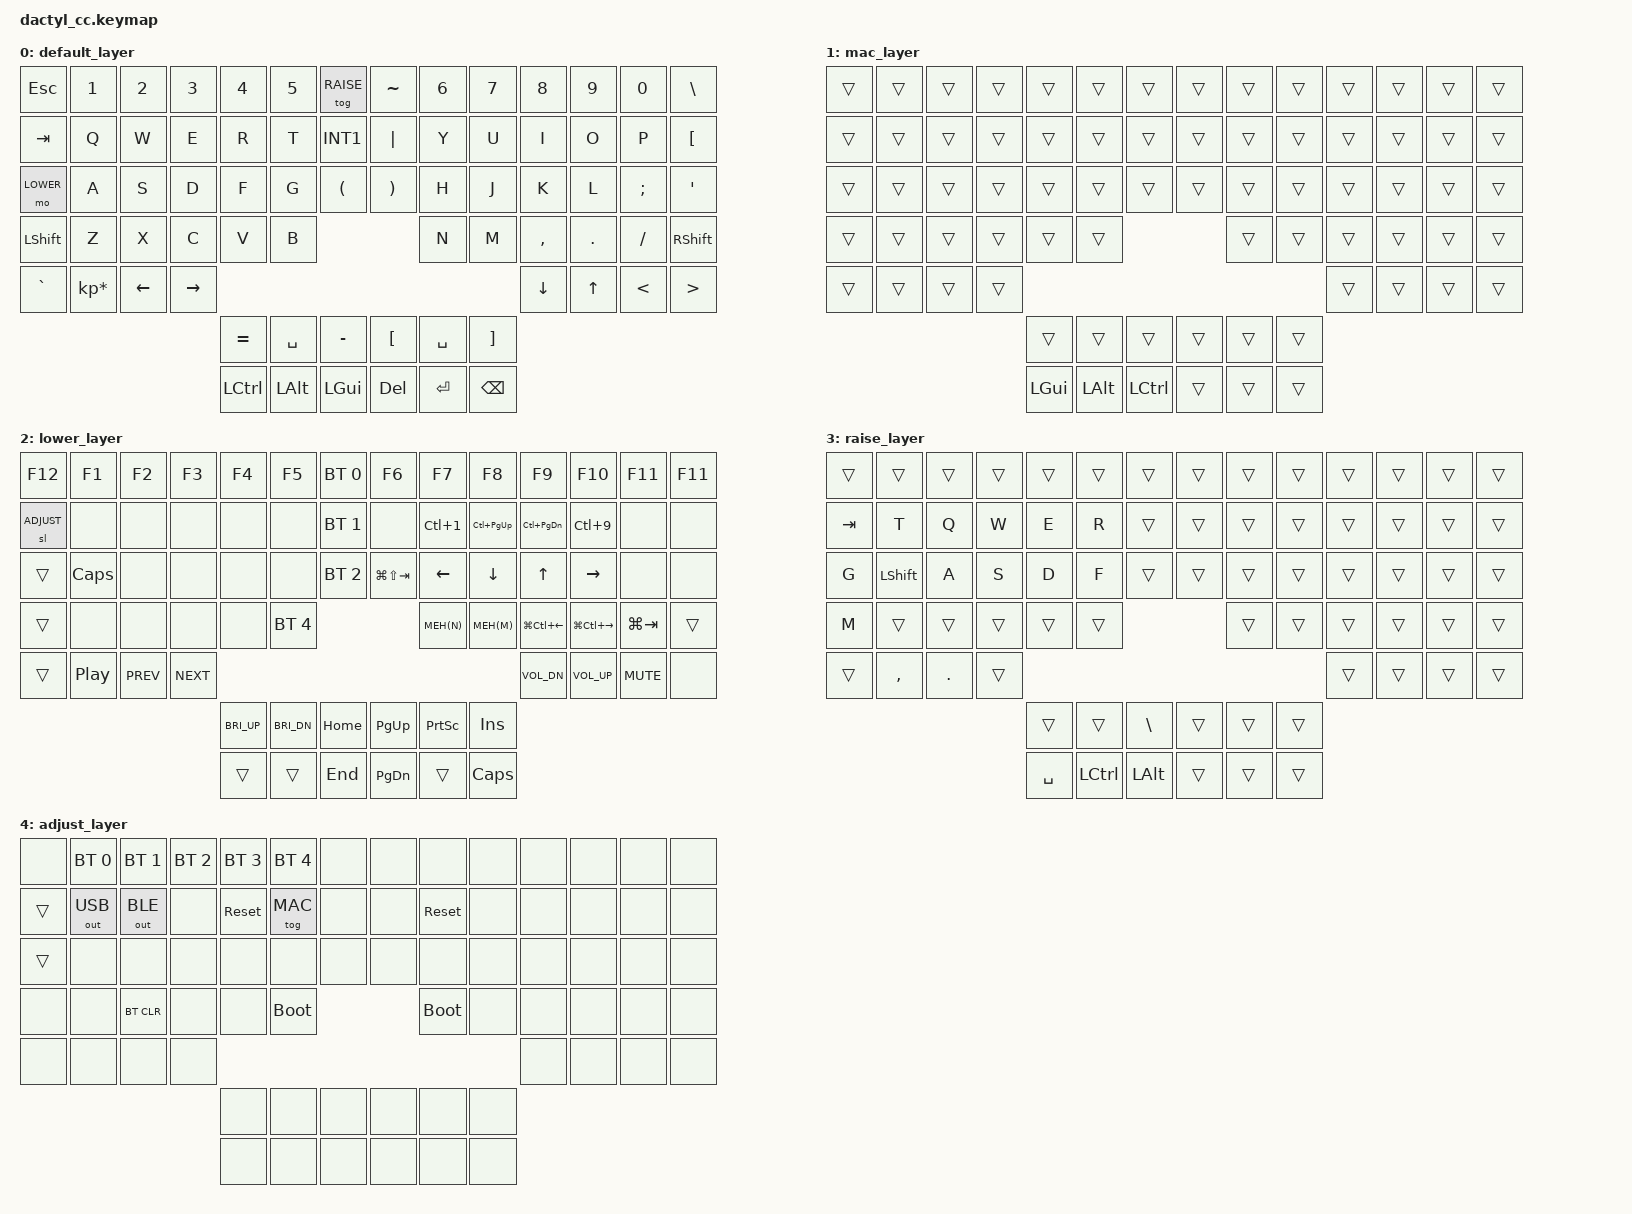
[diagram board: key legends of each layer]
#include <behaviors.dtsi>
#include <dt-bindings/zmk/keys.h>
#include <dt-bindings/zmk/bt.h>
#include <dt-bindings/zmk/outputs.h>

#define DEFAULT 0
#define MAC     1
#define LOWER   2
#define RAISE   3
#define ADJUST  4

#define HYPER(key) LS(LC(LA(LG(key))))
#define MEH(key)   LS(LC(LA(key)))

&sl {
    release-after-ms = <5000>;
};


&kscan0 {
    debounce-press-ms = <30>;
    debounce-release-ms = <30>;
};

/ {
    keymap {
        compatible = "zmk,keymap";

        default_layer {
            bindings = <
    &kp ESC     &kp N1      &kp N2      &kp N3      &kp N4      &kp N5      &tog RAISE          &kp TILDE   &kp N6      &kp N7      &kp N8      &kp N9      &kp N0      &kp BSLH
    &kp TAB     &kp Q       &kp W       &kp E       &kp R       &kp T       &kp INT1            &kp PIPE    &kp Y       &kp U       &kp I       &kp O       &kp P       &kp LBKT
    &mo LOWER   &kp A       &kp S       &kp D       &kp F       &kp G       &kp LPAR            &kp RPAR    &kp H       &kp J       &kp K       &kp L       &kp SEMI    &kp SQT
    &kp LSHFT   &kp Z       &kp X       &kp C       &kp V       &kp B                                       &kp N       &kp M       &kp COMMA   &kp DOT     &kp FSLH    &kp RSHFT
    &kp GRAVE &kp KP_MULTIPLY &kp LEFT  &kp RIGHT                                                                                   &kp DOWN    &kp UP      &kp LT      &kp GT
                                                    &kp EQUAL   &kp SPACE   &kp MINUS           &kp LBKT    &kp SPACE   &kp RBKT
                                                    &kp LCTRL   &kp LALT    &kp LGUI            &kp DEL     &kp RET     &kp BSPC
            >;
        };

        mac_layer {
            bindings = <
    &trans      &trans      &trans      &trans      &trans      &trans      &trans              &trans     &trans       &trans      &trans      &trans      &trans      &trans
    &trans      &trans      &trans      &trans      &trans      &trans      &trans              &trans     &trans       &trans      &trans      &trans      &trans      &trans
    &trans      &trans      &trans      &trans      &trans      &trans      &trans              &trans     &trans       &trans      &trans      &trans      &trans      &trans
    &trans      &trans      &trans      &trans      &trans      &trans                                     &trans       &trans      &trans      &trans      &trans      &trans
    &trans      &trans      &trans      &trans                                                                                      &trans      &trans      &trans      &trans
                                                    &trans      &trans      &trans              &trans     &trans       &trans
                                                    &kp LGUI    &kp LALT    &kp LCTRL           &trans     &trans       &trans
            >;
        };

        lower_layer {
            bindings = <
    &kp F12     &kp F1      &kp F2      &kp F3      &kp F4      &kp F5      &bt BT_SEL 0        &kp F6      &kp F7      &kp F8        &kp F9            &kp F10             &kp F11     &kp F11
    &sl ADJUST  &none       &none       &none       &none       &none       &bt BT_SEL 1        &none       &kp LC(1)   &kp LC(PG_UP) &kp LC(PG_DN)     &kp LC(9)           &none       &none
    &trans      &kp CAPS    &none       &none       &none       &none       &bt BT_SEL 2    &kp LG(LS(TAB)) &kp LEFT    &kp DOWN      &kp UP            &kp RIGHT           &none       &none
    &trans      &none       &none       &none       &none       &bt BT_SEL 4                                &kp MEH(N)  &kp MEH(M)    &kp LG(LC(LEFT))  &kp LG(LC(RIGHT))   &kp LG(TAB) &trans
    &trans      &kp C_PP    &kp C_PREV  &kp C_NEXT                                                                                    &kp C_VOL_DN      &kp C_VOL_UP        &kp C_MUTE  &none
                                                    &kp C_BRI_UP  &kp C_BRI_DN  &kp HOME        &kp PG_UP   &kp PSCRN   &kp INS
                                                    &trans        &trans        &kp END         &kp PG_DN   &trans      &kp CAPS
            >;
       };

        raise_layer {
            bindings = <
    &trans      &trans      &trans      &trans      &trans      &trans      &trans              &trans      &trans      &trans      &trans      &trans      &trans      &trans
    &kp TAB     &kp T       &kp Q       &kp W       &kp E       &kp R       &trans              &trans      &trans      &trans      &trans      &trans      &trans      &trans
    &kp G       &kp LSHFT   &kp A       &kp S       &kp D       &kp F       &trans              &trans      &trans      &trans      &trans      &trans      &trans      &trans
    &kp M       &trans      &trans      &trans      &trans      &trans                                      &trans      &trans      &trans      &trans      &trans      &trans
    &trans      &kp COMMA   &kp DOT     &trans                                                                                      &trans      &trans      &trans      &trans
                                                    &trans      &trans      &kp BSLH            &trans      &trans      &trans
                                                    &kp SPACE   &kp LCTRL   &kp LALT            &trans      &trans      &trans
            >;
        };

        adjust_layer {
            bindings = <
    &none     &bt BT_SEL 0  &bt BT_SEL 1  &bt BT_SEL 2  &bt BT_SEL 3  &bt BT_SEL 4  &none       &none       &none       &none       &none       &none       &none       &none
    &trans    &out OUT_USB  &out OUT_BLE  &none         &sys_reset    &tog MAC      &none       &none       &sys_reset  &none       &none       &none       &none       &none
    &trans    &none         &none         &none         &none         &none         &none       &none       &none       &none       &none       &none       &none       &none
    &none     &none         &bt BT_CLR    &none         &none         &bootloader                           &bootloader &none       &none       &none       &none       &none
    &none     &none         &none         &none                                                                                     &none       &none       &none       &none
                                                        &none         &none         &none       &none       &none       &none
                                                        &none         &none         &none       &none       &none       &none
            >;
        };
    };
};
